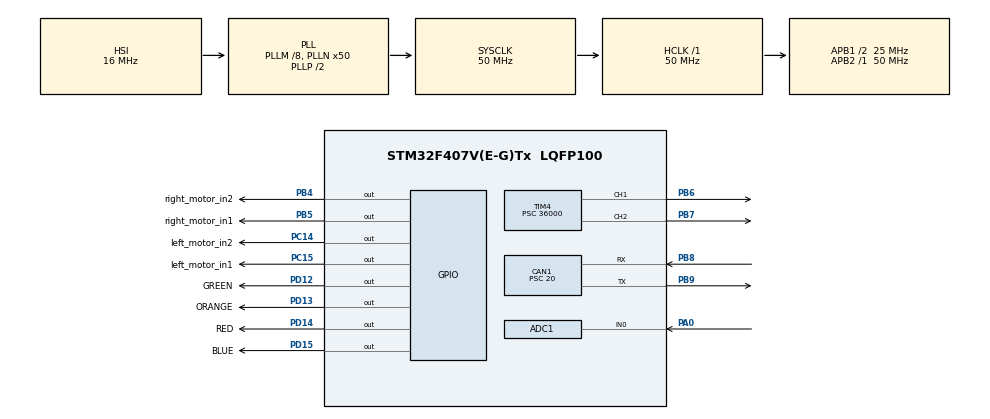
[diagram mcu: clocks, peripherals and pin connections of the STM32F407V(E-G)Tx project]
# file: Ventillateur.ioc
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ADC1.Channel-0\#ChannelRegularConversion=ADC_CHANNEL_0
ADC1.ContinuousConvMode=DISABLE
ADC1.NbrOfConversionFlag=1
ADC1.Rank-0\#ChannelRegularConversion=1
ADC1.SamplingTime-0\#ChannelRegularConversion=ADC_SAMPLETIME_3CYCLES
ADC1.master=1
CAN1.BS1=CAN_BS1_12TQ
CAN1.BS2=CAN_BS2_2TQ
CAN1.CalculateBaudRate=83333
CAN1.CalculateTimeBit=12000
CAN1.CalculateTimeQuantum=800.0
CAN1.NART=DISABLE
CAN1.Prescaler=20
Dma.Request0=TIM4_CH1
Dma.Request1=TIM4_CH2
Dma.TIM4_CH1.0.Direction=DMA_MEMORY_TO_PERIPH
Dma.TIM4_CH1.0.FIFOMode=DMA_FIFOMODE_DISABLE
Dma.TIM4_CH1.0.Instance=DMA1_Stream0
Dma.TIM4_CH1.0.MemDataAlignment=DMA_MDATAALIGN_WORD
Dma.TIM4_CH1.0.MemInc=DMA_MINC_ENABLE
Dma.TIM4_CH1.0.Mode=DMA_CIRCULAR
Dma.TIM4_CH1.0.PeriphDataAlignment=DMA_PDATAALIGN_WORD
Dma.TIM4_CH1.0.PeriphInc=DMA_PINC_DISABLE
Dma.TIM4_CH1.0.Priority=DMA_PRIORITY_LOW
Dma.TIM4_CH2.1.Direction=DMA_MEMORY_TO_PERIPH
Dma.TIM4_CH2.1.FIFOMode=DMA_FIFOMODE_DISABLE
Dma.TIM4_CH2.1.Instance=DMA1_Stream3
Dma.TIM4_CH2.1.MemDataAlignment=DMA_MDATAALIGN_WORD
Dma.TIM4_CH2.1.MemInc=DMA_MINC_ENABLE
Dma.TIM4_CH2.1.Mode=DMA_CIRCULAR
Dma.TIM4_CH2.1.PeriphDataAlignment=DMA_PDATAALIGN_WORD
Dma.TIM4_CH2.1.PeriphInc=DMA_PINC_DISABLE
Dma.TIM4_CH2.1.Priority=DMA_PRIORITY_LOW
Mcu.Family=STM32F4
Mcu.Name=STM32F407V(E-G)Tx
Mcu.Package=LQFP100
NVIC.ADC_IRQn=true\:0\:0\:false\:false\:true\:true\:true\:true
NVIC.CAN1_RX0_IRQn=true\:0\:0\:false\:false\:true\:true\:true\:true
NVIC.CAN1_SCE_IRQn=true\:0\:0\:false\:false\:true\:true\:true\:true
NVIC.CAN1_TX_IRQn=true\:0\:0\:false\:false\:true\:true\:true\:true
NVIC.DMA1_Stream0_IRQn=true\:0\:0\:false\:false\:true\:false\:true\:true
NVIC.DMA1_Stream3_IRQn=true\:0\:0\:false\:false\:true\:false\:true\:true
NVIC.PriorityGroup=NVIC_PRIORITYGROUP_0
PA0-WKUP.Signal=ADCx_IN0
PB4.GPIO_Label=right_motor_in2
PB4.GPIO_PuPd=GPIO_NOPULL
PB4.Signal=GPIO_Output
PB5.GPIO_Label=right_motor_in1
PB5.GPIO_PuPd=GPIO_NOPULL
PB5.Signal=GPIO_Output
PB6.Signal=S_TIM4_CH1
PB7.Signal=S_TIM4_CH2
PB8.GPIO_PuPd=GPIO_PULLUP
PB8.Mode=CAN_Activate
PB8.Signal=CAN1_RX
PB9.GPIO_PuPd=GPIO_PULLUP
PB9.Mode=CAN_Activate
PB9.Signal=CAN1_TX
PC14-OSC32_IN.GPIO_Label=left_motor_in2
PC14-OSC32_IN.GPIO_PuPd=GPIO_NOPULL
PC14-OSC32_IN.Signal=GPIO_Output
PC15-OSC32_OUT.GPIO_Label=left_motor_in1
PC15-OSC32_OUT.GPIO_PuPd=GPIO_NOPULL
PC15-OSC32_OUT.Signal=GPIO_Output
PD12.GPIO_Label=GREEN
PD12.Signal=GPIO_Output
PD13.GPIO_Label=ORANGE
PD13.Signal=GPIO_Output
PD14.GPIO_Label=RED
PD14.Signal=GPIO_Output
PD15.GPIO_Label=BLUE
PD15.Signal=GPIO_Output
ProjectManager.HeapSize=0x200
ProjectManager.StackSize=0x400
ProjectManager.TargetToolchain=STM32CubeIDE
RCC.48MHZClocksFreq_Value=14285714.285714285
RCC.AHBFreq_Value=50000000
RCC.APB1CLKDivider=RCC_HCLK_DIV2
RCC.APB1Freq_Value=25000000
RCC.APB1TimFreq_Value=50000000
RCC.APB2Freq_Value=50000000
RCC.APB2TimFreq_Value=50000000
RCC.CortexFreq_Value=50000000
RCC.HCLKFreq_Value=50000000
RCC.HSE_VALUE=8000000
RCC.HSI_VALUE=16000000
RCC.LSE_VALUE=32768
RCC.PLLM=8
RCC.PLLN=50
RCC.PLLQ=7
RCC.SYSCLKFreq_VALUE=50000000
RCC.SYSCLKSource=RCC_SYSCLKSOURCE_PLLCLK
RCC.VCOOutputFreq_Value=100000000
SH.ADCx_IN0.0=ADC1_IN0,IN0
SH.S_TIM4_CH1.0=TIM4_CH1,PWM Generation1 CH1
SH.S_TIM4_CH2.0=TIM4_CH2,PWM Generation2 CH2
TIM4.Channel-PWM\ Generation1\ CH1=TIM_CHANNEL_1
TIM4.Channel-PWM\ Generation2\ CH2=TIM_CHANNEL_2
TIM4.Period=1000
TIM4.Prescaler=36000
VP_TIM4_VS_ClockSourceINT.Mode=Internal
board=STM32F407G-DISC1

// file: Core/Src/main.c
/* USER CODE BEGIN Header */
/**
  ******************************************************************************
  * @file           : main.c
  * @brief          : Main program body
  ******************************************************************************
  * @attention
  *
  * Copyright (c) 2024 STMicroelectronics.
  * All rights reserved.
  *
  * This software is licensed under terms that can be found in the LICENSE file
  * in the root directory of this software component.
  * If no LICENSE file comes with this software, it is provided AS-IS.
  *
  ******************************************************************************
  */
/* USER CODE END Header */
#include "main.h"

/* USER CODE BEGIN PD */

/**
  * @brief Threshold value for the potentiometer level to determine the motor speed.
  *        Motors will be controlled based on the potentiometer reading when it exceeds this level.
  */
#define POTENTIOMETER_LEVEL  2500

/**
  * @brief Minimum speed value for the motors.
  *        This value represents the lowest acceptable speed for the motors.
  */
#define MOTOR_SPEED_MIN  0

/**
  * @brief Maximum speed value for the motors.
  *        This value represents the highest acceptable speed for the motors.
  */
#define MOTOR_SPEED_MAX  900

/**
  * @brief Size of the received CAN message array.
  *        Specifies the number of elements in the array to receive CAN messages.
  */
#define CAN_RECIEV_MSG_SIZE 3

/**
  * @brief Size of the transmitted CAN message array.
  *        Specifies the number of elements in the array to transmit CAN messages.
  */
#define CAN_TRANSMIT_MSG_SIZE 4

/* USER CODE END PD */

ADC_HandleTypeDef hadc1;

CAN_HandleTypeDef hcan1;

TIM_HandleTypeDef htim4;
DMA_HandleTypeDef hdma_tim4_ch1;
DMA_HandleTypeDef hdma_tim4_ch2;

/* USER CODE BEGIN PV */

/**
  * @brief Initialize variables for motor speed control and communication flags.
  */
uint16_t Left_Motor_Speed = 0; // Variable to store the speed of the left motor. */
uint16_t Right_Motor_Speed = 0; // Variable to store the speed of the right motor. */
volatile uint8_t adc_convert_complete = 0; // Flag to indicate completion of ADC conversion. */
volatile char Can_Transmission_Flag = 0; // Flag to indicate the status of CAN transmission. */

/* USER CODE END PV */

void SystemClock_Config(void);
static void MX_GPIO_Init(void);
static void MX_DMA_Init(void);
static void MX_TIM4_Init(void);
static void MX_ADC1_Init(void);
static void MX_CAN1_Init(void);
/* USER CODE BEGIN PFP */
static void turn_motor(uint32_t speed , uint8_t motor_number);
static void handle_ADC_Conversion(void);
static void variablesToByteArray(uint8_t *byteArray, int size1, void *var1, int size2, void *var2);
static void CAN1_Tx(void);
static void CAN1_Filter_Config (void);
static void CAN1_Rx (void);
/* USER CODE END PFP */

int main(void)
{

  /* MCU Configuration--------------------------------------------------------*/

  /* Reset of all peripherals, Initializes the Flash interface and the Systick. */
  HAL_Init();

  /* Configure the system clock */
  SystemClock_Config();

  /* Initialize all configured peripherals */
  MX_GPIO_Init();
  MX_DMA_Init();
  MX_TIM4_Init();
  MX_ADC1_Init();
  MX_CAN1_Init();
  /* USER CODE BEGIN 2 */
  /**
    * @brief Starts ADC in the interruption mode
    */
  if (HAL_ADC_Start_IT(&hadc1) != HAL_OK)
  {
      Error_Handler();
  }
  // Set right motor pins for forward rotation and left motor pins for forward rotation
  HAL_GPIO_WritePin(right_motor_in1_GPIO_Port, right_motor_in1_Pin, GPIO_PIN_SET);
  HAL_GPIO_WritePin(right_motor_in2_GPIO_Port, right_motor_in2_Pin, GPIO_PIN_RESET);
  HAL_GPIO_WritePin(left_motor_in1_GPIO_Port, left_motor_in1_Pin, GPIO_PIN_SET);
  HAL_GPIO_WritePin(left_motor_in2_GPIO_Port, left_motor_in2_Pin, GPIO_PIN_RESET);
  // Start PWM DMA for right motor speed control
  if (HAL_TIM_PWM_Start_DMA(&htim4, TIM_CHANNEL_1, (uint32_t *)&Right_Motor_Speed, 1) != HAL_OK)
  {
      Error_Handler();
  }
  // Start PWM DMA for left motor speed control
  if (HAL_TIM_PWM_Start_DMA(&htim4, TIM_CHANNEL_2, (uint32_t *)&Left_Motor_Speed, 1) != HAL_OK)
  {
      Error_Handler();
  }
  // Activate CAN notifications
  if (HAL_CAN_ActivateNotification(&hcan1, CAN_IT_TX_MAILBOX_EMPTY | CAN_IT_RX_FIFO0_MSG_PENDING | CAN_IT_BUSOFF) != HAL_OK)
  {
      Error_Handler();
  }
  // Start CAN communication
  if (HAL_CAN_Start(&hcan1) != HAL_OK)
  {
      Error_Handler();
  }

  /* USER CODE END 2 */

  /* Infinite loop */
  /* USER CODE BEGIN WHILE */
  while (1)
  {
	  /**
	    * @brief Handles ADC conversion and CAN transmission, updates GPIO pins based on transmission flag,
	    *        and introduces a delay.
	    */
	  handle_ADC_Conversion();
	  CAN1_Tx();
	  if (1 == Can_Transmission_Flag)
	  {
	      // Set GREEN pin high and others low
	      HAL_GPIO_WritePin(GREEN_GPIO_Port, GREEN_Pin, GPIO_PIN_SET);
	      HAL_GPIO_WritePin(BLUE_GPIO_Port, BLUE_Pin, GPIO_PIN_RESET);
	      HAL_GPIO_WritePin(RED_GPIO_Port, RED_Pin, GPIO_PIN_RESET);
	      Can_Transmission_Flag = 0;
	  }
	  else if (2 == Can_Transmission_Flag)
	  {
	      // Set BLUE pin high and others low
	      //CAN1_Rx();
	      HAL_GPIO_WritePin(BLUE_GPIO_Port, BLUE_Pin, GPIO_PIN_SET);
	      HAL_GPIO_WritePin(RED_GPIO_Port, RED_Pin, GPIO_PIN_RESET);
	      HAL_GPIO_WritePin(GREEN_GPIO_Port, GREEN_Pin, GPIO_PIN_RESET);
	      Can_Transmission_Flag = 0;
	  }
	  else if (3 == Can_Transmission_Flag)
	  {
	      // Set RED pin high and others low
	      HAL_GPIO_WritePin(RED_GPIO_Port, RED_Pin, GPIO_PIN_SET);
	      HAL_GPIO_WritePin(GREEN_GPIO_Port, GREEN_Pin, GPIO_PIN_RESET);
	      HAL_GPIO_WritePin(BLUE_GPIO_Port, BLUE_Pin, GPIO_PIN_RESET);
	      Can_Transmission_Flag = 0;
	  }
	  // Delay for 500 milliseconds
	  HAL_Delay(500);

    /* USER CODE END WHILE */

  }
}

void SystemClock_Config(void)
{
  RCC_OscInitTypeDef RCC_OscInitStruct = {0};
  RCC_ClkInitTypeDef RCC_ClkInitStruct = {0};

  /** Configure the main internal regulator output voltage
  */
  __HAL_RCC_PWR_CLK_ENABLE();
  __HAL_PWR_VOLTAGESCALING_CONFIG(PWR_REGULATOR_VOLTAGE_SCALE1);

  /** Initializes the RCC Oscillators according to the specified parameters
  * in the RCC_OscInitTypeDef structure.
  */
  RCC_OscInitStruct.OscillatorType = RCC_OSCILLATORTYPE_HSI;
  RCC_OscInitStruct.HSIState = RCC_HSI_ON;
  RCC_OscInitStruct.HSICalibrationValue = RCC_HSICALIBRATION_DEFAULT;
  RCC_OscInitStruct.PLL.PLLState = RCC_PLL_ON;
  RCC_OscInitStruct.PLL.PLLSource = RCC_PLLSOURCE_HSI;
  RCC_OscInitStruct.PLL.PLLM = 8;
  RCC_OscInitStruct.PLL.PLLN = 50;
  RCC_OscInitStruct.PLL.PLLP = RCC_PLLP_DIV2;
  RCC_OscInitStruct.PLL.PLLQ = 7;
  if (HAL_RCC_OscConfig(&RCC_OscInitStruct) != HAL_OK)
  {
    Error_Handler();
  }

  /** Initializes the CPU, AHB and APB buses clocks
  */
  RCC_ClkInitStruct.ClockType = RCC_CLOCKTYPE_HCLK|RCC_CLOCKTYPE_SYSCLK
                              |RCC_CLOCKTYPE_PCLK1|RCC_CLOCKTYPE_PCLK2;
  RCC_ClkInitStruct.SYSCLKSource = RCC_SYSCLKSOURCE_PLLCLK;
  RCC_ClkInitStruct.AHBCLKDivider = RCC_SYSCLK_DIV1;
  RCC_ClkInitStruct.APB1CLKDivider = RCC_HCLK_DIV2;
  RCC_ClkInitStruct.APB2CLKDivider = RCC_HCLK_DIV1;

  if (HAL_RCC_ClockConfig(&RCC_ClkInitStruct, FLASH_LATENCY_1) != HAL_OK)
  {
    Error_Handler();
  }
}

static void MX_ADC1_Init(void)
{

  ADC_ChannelConfTypeDef sConfig = {0};

  /** Configure the global features of the ADC (Clock, Resolution, Data Alignment and number of conversion)
  */
  hadc1.Instance = ADC1;
  hadc1.Init.ClockPrescaler = ADC_CLOCK_SYNC_PCLK_DIV2;
  hadc1.Init.Resolution = ADC_RESOLUTION_12B;
  hadc1.Init.ScanConvMode = DISABLE;
  hadc1.Init.ContinuousConvMode = DISABLE;
  hadc1.Init.DiscontinuousConvMode = DISABLE;
  hadc1.Init.ExternalTrigConvEdge = ADC_EXTERNALTRIGCONVEDGE_NONE;
  hadc1.Init.ExternalTrigConv = ADC_SOFTWARE_START;
  hadc1.Init.DataAlign = ADC_DATAALIGN_RIGHT;
  hadc1.Init.NbrOfConversion = 1;
  hadc1.Init.DMAContinuousRequests = DISABLE;
  hadc1.Init.EOCSelection = ADC_EOC_SINGLE_CONV;
  if (HAL_ADC_Init(&hadc1) != HAL_OK)
  {
    Error_Handler();
  }

  /** Configure for the selected ADC regular channel its corresponding rank in the sequencer and its sample time.
  */
  sConfig.Channel = ADC_CHANNEL_0;
  sConfig.Rank = 1;
  sConfig.SamplingTime = ADC_SAMPLETIME_3CYCLES;
  if (HAL_ADC_ConfigChannel(&hadc1, &sConfig) != HAL_OK)
  {
    Error_Handler();
  }

}

static void MX_CAN1_Init(void)
{

  hcan1.Instance = CAN1;
  hcan1.Init.Prescaler = 20;
  hcan1.Init.Mode = CAN_MODE_NORMAL;
  hcan1.Init.SyncJumpWidth = CAN_SJW_1TQ;
  hcan1.Init.TimeSeg1 = CAN_BS1_12TQ;
  hcan1.Init.TimeSeg2 = CAN_BS2_2TQ;
  hcan1.Init.TimeTriggeredMode = DISABLE;
  hcan1.Init.AutoBusOff = DISABLE;
  hcan1.Init.AutoWakeUp = DISABLE;
  hcan1.Init.AutoRetransmission = DISABLE;
  hcan1.Init.ReceiveFifoLocked = DISABLE;
  hcan1.Init.TransmitFifoPriority = DISABLE;
  if (HAL_CAN_Init(&hcan1) != HAL_OK)
  {
    Error_Handler();
  }

}

static void MX_TIM4_Init(void)
{

  TIM_ClockConfigTypeDef sClockSourceConfig = {0};
  TIM_MasterConfigTypeDef sMasterConfig = {0};
  TIM_OC_InitTypeDef sConfigOC = {0};

  htim4.Instance = TIM4;
  htim4.Init.Prescaler = 36000;
  htim4.Init.CounterMode = TIM_COUNTERMODE_UP;
  htim4.Init.Period = 1000;
  htim4.Init.ClockDivision = TIM_CLOCKDIVISION_DIV1;
  htim4.Init.AutoReloadPreload = TIM_AUTORELOAD_PRELOAD_DISABLE;
  if (HAL_TIM_Base_Init(&htim4) != HAL_OK)
  {
    Error_Handler();
  }
  sClockSourceConfig.ClockSource = TIM_CLOCKSOURCE_INTERNAL;
  if (HAL_TIM_ConfigClockSource(&htim4, &sClockSourceConfig) != HAL_OK)
  {
    Error_Handler();
  }
  if (HAL_TIM_PWM_Init(&htim4) != HAL_OK)
  {
    Error_Handler();
  }
  sMasterConfig.MasterOutputTrigger = TIM_TRGO_RESET;
  sMasterConfig.MasterSlaveMode = TIM_MASTERSLAVEMODE_DISABLE;
  if (HAL_TIMEx_MasterConfigSynchronization(&htim4, &sMasterConfig) != HAL_OK)
  {
    Error_Handler();
  }
  sConfigOC.OCMode = TIM_OCMODE_PWM1;
  sConfigOC.Pulse = 0;
  sConfigOC.OCPolarity = TIM_OCPOLARITY_HIGH;
  sConfigOC.OCFastMode = TIM_OCFAST_DISABLE;
  if (HAL_TIM_PWM_ConfigChannel(&htim4, &sConfigOC, TIM_CHANNEL_1) != HAL_OK)
  {
    Error_Handler();
  }
  if (HAL_TIM_PWM_ConfigChannel(&htim4, &sConfigOC, TIM_CHANNEL_2) != HAL_OK)
  {
    Error_Handler();
  }
  HAL_TIM_MspPostInit(&htim4);

}

static void MX_DMA_Init(void)
{

  /* DMA controller clock enable */
  __HAL_RCC_DMA1_CLK_ENABLE();

  /* DMA interrupt init */
  /* DMA1_Stream0_IRQn interrupt configuration */
  HAL_NVIC_SetPriority(DMA1_Stream0_IRQn, 0, 0);
  HAL_NVIC_EnableIRQ(DMA1_Stream0_IRQn);
  /* DMA1_Stream3_IRQn interrupt configuration */
  HAL_NVIC_SetPriority(DMA1_Stream3_IRQn, 0, 0);
  HAL_NVIC_EnableIRQ(DMA1_Stream3_IRQn);

}

static void MX_GPIO_Init(void)
{
  GPIO_InitTypeDef GPIO_InitStruct = {0};

  /* GPIO Ports Clock Enable */
  __HAL_RCC_GPIOC_CLK_ENABLE();
  __HAL_RCC_GPIOA_CLK_ENABLE();
  __HAL_RCC_GPIOD_CLK_ENABLE();
  __HAL_RCC_GPIOB_CLK_ENABLE();

  /*Configure GPIO pin Output Level */
  HAL_GPIO_WritePin(GPIOC, left_motor_in2_Pin|left_motor_in1_Pin, GPIO_PIN_RESET);

  /*Configure GPIO pin Output Level */
  HAL_GPIO_WritePin(GPIOD, GREEN_Pin|ORANGE_Pin|RED_Pin|BLUE_Pin, GPIO_PIN_RESET);

  /*Configure GPIO pin Output Level */
  HAL_GPIO_WritePin(GPIOB, right_motor_in2_Pin|right_motor_in1_Pin, GPIO_PIN_RESET);

  /*Configure GPIO pins : left_motor_in2_Pin left_motor_in1_Pin */
  GPIO_InitStruct.Pin = left_motor_in2_Pin|left_motor_in1_Pin;
  GPIO_InitStruct.Mode = GPIO_MODE_OUTPUT_PP;
  GPIO_InitStruct.Pull = GPIO_NOPULL;
  GPIO_InitStruct.Speed = GPIO_SPEED_FREQ_LOW;
  HAL_GPIO_Init(GPIOC, &GPIO_InitStruct);

  /*Configure GPIO pins : GREEN_Pin ORANGE_Pin RED_Pin BLUE_Pin */
  GPIO_InitStruct.Pin = GREEN_Pin|ORANGE_Pin|RED_Pin|BLUE_Pin;
  GPIO_InitStruct.Mode = GPIO_MODE_OUTPUT_PP;
  GPIO_InitStruct.Pull = GPIO_NOPULL;
  GPIO_InitStruct.Speed = GPIO_SPEED_FREQ_LOW;
  HAL_GPIO_Init(GPIOD, &GPIO_InitStruct);

  /*Configure GPIO pins : right_motor_in2_Pin right_motor_in1_Pin */
  GPIO_InitStruct.Pin = right_motor_in2_Pin|right_motor_in1_Pin;
  GPIO_InitStruct.Mode = GPIO_MODE_OUTPUT_PP;
  GPIO_InitStruct.Pull = GPIO_NOPULL;
  GPIO_InitStruct.Speed = GPIO_SPEED_FREQ_LOW;
  HAL_GPIO_Init(GPIOB, &GPIO_InitStruct);

}

/* USER CODE BEGIN 4 */

/**
  * @brief Callback function called when ADC conversion is complete.
  *        Sets the flag to indicate completion of conversion.
  * @param hadc: Pointer to ADC handle
  */
void HAL_ADC_ConvCpltCallback(ADC_HandleTypeDef *hadc)
{
  adc_convert_complete = 1;
}

/**
  * @brief Turns the specified motor at the given speed.
  * @param speed: Speed value for the motor
  * @param motor_number: Motor number (1 for right motor, 2 for left motor)
  */
static void turn_motor(uint32_t speed , uint8_t motor_number)
{
	if( motor_number == 1 )
	{
	    Right_Motor_Speed = speed;
	}
	else if( motor_number == 2 )
	{
		Left_Motor_Speed = speed;
	}
}

/**
  * @brief Handles the ADC conversion process.
  *        Stops ADC interrupts, reads the ADC value, adjusts motor speeds based on the value,
  *        and restarts ADC interrupts.
  */
static void handle_ADC_Conversion(void) {
    while (adc_convert_complete != 1) ;
    HAL_ADC_Stop_IT(&hadc1);
    if( HAL_ADC_GetValue(&hadc1) < POTENTIOMETER_LEVEL)
    {
        turn_motor( MOTOR_SPEED_MIN , 1);
        turn_motor( MOTOR_SPEED_MIN ,2);
    }
    else
    {
        turn_motor( MOTOR_SPEED_MAX, 1);
        turn_motor( MOTOR_SPEED_MAX, 2);
    }
    adc_convert_complete = 0;
    HAL_ADC_Start_IT(&hadc1);
}

/**
  * @brief Converts two variables into a byte array.
  * @param byteArray: Pointer to the byte array
  * @param size1: Size of the first variable
  * @param var1: Pointer to the first variable
  * @param size2: Size of the second variable
  * @param var2: Pointer to the second variable
  */
static void variablesToByteArray(uint8_t *byteArray, int size1, void *var1, int size2, void *var2) {
    // Copie de la première variable dans le tableau d'octets
    for (int i = 0; i < size1; i++) {
        byteArray[i] = *((uint8_t *)var1 + i);
    }
    // Copie de la deuxième variable dans le tableau d'octets
    for (int i = 0; i < size2; i++) {
        byteArray[size1 + i] = *((uint8_t *)var2 + i);
    }
}

/**
  * @brief Transmits data over CAN bus.
  *        Converts motor speeds to byte array, configures CAN message header, and transmits the message.
  */
static void CAN1_Tx(void)
{
	CAN_TxHeaderTypeDef TxHeader;
	uint32_t TxMailbox;
	uint8_t can_msg[CAN_TRANSMIT_MSG_SIZE];
	variablesToByteArray(can_msg, sizeof(Right_Motor_Speed), &Right_Motor_Speed, sizeof(Left_Motor_Speed), &Left_Motor_Speed);
	TxHeader.StdId= 0x002;
	TxHeader.RTR= CAN_RTR_DATA;
	TxHeader.IDE= CAN_ID_STD;
	TxHeader.DLC= CAN_TRANSMIT_MSG_SIZE;
	if(HAL_CAN_AddTxMessage(&hcan1, &TxHeader, can_msg, &TxMailbox) != HAL_OK)
	{
		Error_Handler();
	}
}

/**
  * @brief Configures CAN filter.
  *        Configures the filter for CAN messages.
  */
static void CAN1_Filter_Config (void)
{
	CAN_FilterTypeDef can1_filter_init;
	can1_filter_init.FilterActivation = ENABLE;
	can1_filter_init.FilterBank = 0;
	can1_filter_init.FilterFIFOAssignment = CAN_RX_FIFO0;
	can1_filter_init.FilterIdHigh = 0xFF1;
	can1_filter_init.FilterIdLow = 0x000;
	can1_filter_init.FilterMaskIdHigh = 0xFF1;
	can1_filter_init.FilterMaskIdLow = 0x000;
	can1_filter_init.FilterMode = CAN_FILTERMODE_IDMASK;
	can1_filter_init.FilterScale = CAN_FILTERSCALE_32BIT;
	if(HAL_CAN_ConfigFilter(&hcan1, &can1_filter_init) != HAL_OK)
	{
		Error_Handler();
	}
}

/**
  * @brief Receives data over CAN bus.
  *        Processes received CAN message and takes appropriate action.
  */
static void CAN1_Rx (void)
{
	CAN_RxHeaderTypeDef RxHeader;
	uint8_t Reciev_Msg[CAN_RECIEV_MSG_SIZE];
	if(HAL_CAN_GetRxMessage(&hcan1, CAN_RX_FIFO0, &RxHeader, Reciev_Msg) != HAL_OK)
	{
		Error_Handler();
	}
	if( 0xFF1 == RxHeader.StdId)
	  {
		if( Reciev_Msg[0] == 1)
		 {
				//turn motor 1
		 }
		else if( Reciev_Msg[0] == 2)
		 {
				//turn motor 2
		 }
	  }
}

/**
  * @brief Callback function called when CAN transmission mailbox 0 is complete.
  *        Sets the transmission flag accordingly.
  * @param hcan: Pointer to CAN handle
  */
void HAL_CAN_TxMailbox0CompleteCallback (CAN_HandleTypeDef *hcan)
{
	if( hcan->Instance == CAN1)
	{
	   Can_Transmission_Flag=1;
	}
}

/**
  * @brief Callback function called when CAN transmission mailbox 1 is complete.
  *        Sets the transmission flag accordingly.
  * @param hcan: Pointer to CAN handle
  */
void HAL_CAN_TxMailbox1CompleteCallback (CAN_HandleTypeDef *hcan)
{
	if( hcan->Instance == CAN1)
	{
		Can_Transmission_Flag=1;
	}
}

/**
  * @brief Callback function called when CAN transmission mailbox 2 is complete.
  *        Sets the transmission flag accordingly.
  * @param hcan: Pointer to CAN handle
  */
void HAL_CAN_TxMailbox2CompleteCallback (CAN_HandleTypeDef *hcan)
{
	if( hcan->Instance == CAN1)
	{
		Can_Transmission_Flag=1;
	}
}

/**
  * @brief Callback function called when CAN FIFO 0 has a pending message.
  *        Sets the transmission flag accordingly.
  * @param hcan: Pointer to CAN handle
  */
void HAL_CAN_RxFifo0MsgPendingCallback (CAN_HandleTypeDef *hcan)
{
	if( hcan->Instance == CAN1)
	{
		Can_Transmission_Flag = 2;
	}
}

/**
  * @brief Callback function called when a CAN error occurs.
  *        Sets the transmission flag accordingly.
  * @param hcan: Pointer to CAN handle
  */
void HAL_CAN_ErrorCallback (CAN_HandleTypeDef *hcan)
{
	if( hcan->Instance == CAN1)
	{
		Can_Transmission_Flag=3;
	}
}
/* USER CODE END 4 */

void Error_Handler(void)
{
  __disable_irq();
  while (1)
  {
  }
}
